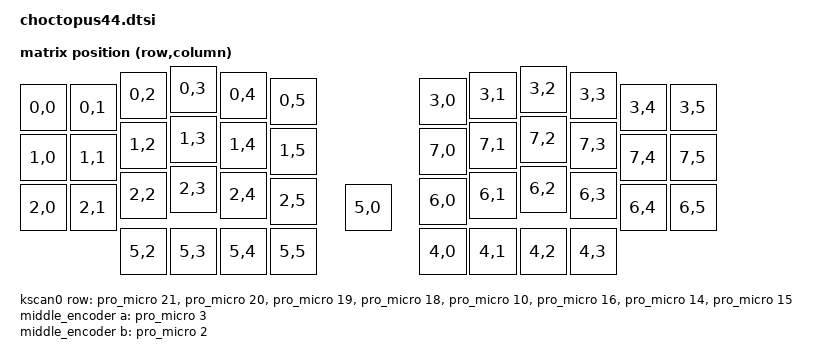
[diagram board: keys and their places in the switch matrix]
/*
 * Copyright (c) 2021 The ZMK Contributors
 *
 * SPDX-License-Identifier: MIT
 */

#include <dt-bindings/zmk/matrix_transform.h>
#include <physical_layouts.dtsi>

/ {
    chosen {
        zmk,kscan = &kscan0;
        // No zmk,matrix_transform here: the transform is referenced by the
        // physical layout below, which is required for ZMK Studio support.
        zmk,physical-layout = &choctopus44_layout;
        zmk,battery = &vbatt;
    };

    default_transform: keymap_transform_0 {
        compatible = "zmk,matrix-transform";
        columns = <6>;
        rows = <8>;

        // Corrected for the beekeeb ChocoTako44 wiring, mapped empirically
        // via a diagnostic identity-matrix build:
        //   scan row 0=top-left  1=mid-left  2=bot-left  3=top-right
        //   5=center+left-thumbs 6=bot-right 7=mid-right
        //   4 (pin D10/"B6") = right thumbs, cols 0-3 (B6 row trace was
        //       broken from the factory; repaired with a bodge wire)
        map = <
RC(0,0) RC(0,1) RC(0,2) RC(0,3) RC(0,4) RC(0,5)         RC(3,0) RC(3,1) RC(3,2) RC(3,3) RC(3,4) RC(3,5)
RC(1,0) RC(1,1) RC(1,2) RC(1,3) RC(1,4) RC(1,5)         RC(7,0) RC(7,1) RC(7,2) RC(7,3) RC(7,4) RC(7,5)
RC(2,0) RC(2,1) RC(2,2) RC(2,3) RC(2,4) RC(2,5) RC(5,0) RC(6,0) RC(6,1) RC(6,2) RC(6,3) RC(6,4) RC(6,5)
                RC(5,2) RC(5,3) RC(5,4) RC(5,5)         RC(4,0) RC(4,1) RC(4,2) RC(4,3)
        >;
    };

    choctopus44_layout: physical_layout_0 {
        compatible = "zmk,physical-layout";
        display-name = "Choctopus44";
        transform = <&default_transform>;
        kscan = <&kscan0>;

        keys  //                     w   h    x    y   rot   rx   ry
            // Row 0 (top) - left
            = <&key_physical_attrs 100 100    0   37     0    0    0>
            , <&key_physical_attrs 100 100  100   37     0    0    0>
            , <&key_physical_attrs 100 100  200   12     0    0    0>
            , <&key_physical_attrs 100 100  300    0     0    0    0>
            , <&key_physical_attrs 100 100  400   12     0    0    0>
            , <&key_physical_attrs 100 100  500   24     0    0    0>
            // Row 0 (top) - right
            , <&key_physical_attrs 100 100  800   24     0    0    0>
            , <&key_physical_attrs 100 100  900   12     0    0    0>
            , <&key_physical_attrs 100 100 1000    0     0    0    0>
            , <&key_physical_attrs 100 100 1100   12     0    0    0>
            , <&key_physical_attrs 100 100 1200   37     0    0    0>
            , <&key_physical_attrs 100 100 1300   37     0    0    0>
            // Row 1 (home) - left
            , <&key_physical_attrs 100 100    0  137     0    0    0>
            , <&key_physical_attrs 100 100  100  137     0    0    0>
            , <&key_physical_attrs 100 100  200  112     0    0    0>
            , <&key_physical_attrs 100 100  300  100     0    0    0>
            , <&key_physical_attrs 100 100  400  112     0    0    0>
            , <&key_physical_attrs 100 100  500  124     0    0    0>
            // Row 1 (home) - right
            , <&key_physical_attrs 100 100  800  124     0    0    0>
            , <&key_physical_attrs 100 100  900  112     0    0    0>
            , <&key_physical_attrs 100 100 1000  100     0    0    0>
            , <&key_physical_attrs 100 100 1100  112     0    0    0>
            , <&key_physical_attrs 100 100 1200  137     0    0    0>
            , <&key_physical_attrs 100 100 1300  137     0    0    0>
            // Row 2 (bottom) - left
            , <&key_physical_attrs 100 100    0  237     0    0    0>
            , <&key_physical_attrs 100 100  100  237     0    0    0>
            , <&key_physical_attrs 100 100  200  212     0    0    0>
            , <&key_physical_attrs 100 100  300  200     0    0    0>
            , <&key_physical_attrs 100 100  400  212     0    0    0>
            , <&key_physical_attrs 100 100  500  224     0    0    0>
            // Center key (encoder push / RC(3,0))
            , <&key_physical_attrs 100 100  650  237     0    0    0>
            // Row 2 (bottom) - right
            , <&key_physical_attrs 100 100  800  224     0    0    0>
            , <&key_physical_attrs 100 100  900  212     0    0    0>
            , <&key_physical_attrs 100 100 1000  200     0    0    0>
            , <&key_physical_attrs 100 100 1100  212     0    0    0>
            , <&key_physical_attrs 100 100 1200  237     0    0    0>
            , <&key_physical_attrs 100 100 1300  237     0    0    0>
            // Thumb row - left
            , <&key_physical_attrs 100 100  200  325     0    0    0>
            , <&key_physical_attrs 100 100  300  325     0    0    0>
            , <&key_physical_attrs 100 100  400  325     0    0    0>
            , <&key_physical_attrs 100 100  500  325     0    0    0>
            // Thumb row - right
            , <&key_physical_attrs 100 100  800  325     0    0    0>
            , <&key_physical_attrs 100 100  900  325     0    0    0>
            , <&key_physical_attrs 100 100 1000  325     0    0    0>
            , <&key_physical_attrs 100 100 1100  325     0    0    0>
        ;
    };

    kscan0: kscan_0 {
        compatible = "zmk,kscan-gpio-matrix";
        label = "KSCAN";
        diode-direction = "col2row";

        row-gpios
            = <&pro_micro 21 (GPIO_ACTIVE_HIGH | GPIO_PULL_DOWN)>
            , <&pro_micro 20 (GPIO_ACTIVE_HIGH | GPIO_PULL_DOWN)>
            , <&pro_micro 19 (GPIO_ACTIVE_HIGH | GPIO_PULL_DOWN)>
            , <&pro_micro 18 (GPIO_ACTIVE_HIGH | GPIO_PULL_DOWN)>
            , <&pro_micro 10 (GPIO_ACTIVE_HIGH | GPIO_PULL_DOWN)>
            , <&pro_micro 16 (GPIO_ACTIVE_HIGH | GPIO_PULL_DOWN)>
            , <&pro_micro 14 (GPIO_ACTIVE_HIGH | GPIO_PULL_DOWN)>
            , <&pro_micro 15 (GPIO_ACTIVE_HIGH | GPIO_PULL_DOWN)>
            ;
    };

    middle_encoder: encoder_middle {
        compatible = "alps,ec11";
        label = "MIDDLE_ENCODER";
        a-gpios = <&pro_micro 3 (GPIO_ACTIVE_HIGH | GPIO_PULL_UP)>;
        b-gpios = <&pro_micro 2 (GPIO_ACTIVE_HIGH | GPIO_PULL_UP)>;
        steps = <15>;
        status = "enabled";
    };

    sensors {
        compatible = "zmk,keymap-sensors";
        sensors = <&middle_encoder>;
        triggers-per-rotation = <15>;
    };

    vbatt: vbatt {
        compatible = "zmk,battery-nrf-vddh";
        label = "VBATT";
    };
};
